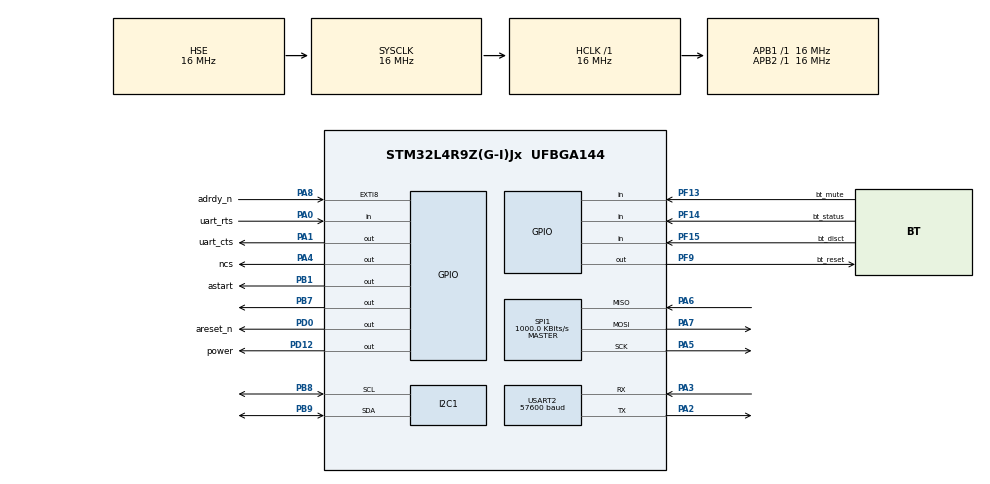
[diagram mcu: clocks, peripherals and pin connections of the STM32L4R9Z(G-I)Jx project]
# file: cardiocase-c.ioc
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Mcu.Family=STM32L4
PD12.GPIO_Label=power
PA6.Mode=Full_Duplex_Master
RCC.CortexFreq_Value=16000000
SPI1.VirtualType=VM_MASTER
PH0-OSC_IN\ (PH0).Signal=RCC_OSC_IN
USART2.ClockPrescaler=PRESCALER_DIV1
PA0.GPIO_Label=uart_rts
PD0.GPIO_Label=areset_n
PA15\ (JTDI).Signal=SYS_JTDI
RCC.SYSCLKSource=RCC_SYSCLKSOURCE_HSE
ProjectManager.StackSize=0x400
VP_TIM7_VS_ClockSourceINT.Mode=Enable_Timer
PA15\ (JTDI).Mode=JTAG_5_pins
PA14\ (JTCK/SWCLK).Signal=SYS_JTCK-SWCLK
SPI1.Direction=SPI_DIRECTION_2LINES
RCC.HCLKFreq_Value=16000000
RCC.APB2TimFreq_Value=16000000
SPI1.CalculateBaudRate=1000.0 KBits/s
PD0.Signal=GPIO_Output
TIM7.Period=1000
PA1.GPIO_PuPd=GPIO_PULLDOWN
RCC.AHBFreq_Value=16000000
PH1-OSC_OUT\ (PH1).Mode=HSE-External-Oscillator
RCC.HSE_VALUE=16000000
USART2.VirtualMode-Asynchronous=VM_ASYNC
USART2.OverSampling=UART_OVERSAMPLING_8
PA4.GPIO_Speed=GPIO_SPEED_FREQ_VERY_HIGH
PB1.GPIO_Label=astart
SPI1.DataSize=SPI_DATASIZE_8BIT
PB7.Signal=GPIO_Output
PA8.Signal=GPXTI8
PA14\ (JTCK/SWCLK).Mode=JTAG_5_pins
PA0.Signal=GPIO_Input
USART2.FIFOMode=FIFOMODE_ENABLE
PB9.Signal=I2C1_SDA
Mcu.Package=UFBGA144
TIM2.Prescaler=63
PB1.Signal=GPIO_Output
PA6.Signal=SPI1_MISO
PD12.Signal=GPIO_Output
TIM7.AutoReloadPreload=TIM_AUTORELOAD_PRELOAD_ENABLE
PF14.Signal=GPIO_Input
RCC.APB1TimFreq_Value=16000000
SPI1.BaudRatePrescaler=SPI_BAUDRATEPRESCALER_16
PH0-OSC_IN\ (PH0).Mode=HSE-External-Oscillator
PA4.GPIO_Label=ncs
NVIC.TIM7_IRQn=true\:0\:0\:false\:false\:true\:true\:true
RCC.HSI48_VALUE=48000000
PA3.Signal=USART2_RX
PA5.Mode=Full_Duplex_Master
PD12.PinState=GPIO_PIN_SET
RCC.MSI_VALUE=4000000
RCC.PLLSourceVirtual=RCC_PLLSOURCE_HSI
PA7.Mode=Full_Duplex_Master
PA13\ (JTMS/SWDIO).Mode=JTAG_5_pins
PF14.GPIO_Label=bt_status
SPI1.CLKPhase=SPI_PHASE_2EDGE
PF13.GPIO_Label=bt_mute
NVIC.USART2_IRQn=true\:0\:0\:false\:false\:true\:true\:true
USART2.BaudRate=57600
PH1-OSC_OUT\ (PH1).Signal=RCC_OSC_OUT
PA3.Mode=Asynchronous
PA8.GPIO_Label=adrdy_n
PA4.PinState=GPIO_PIN_SET
PB3\ (JTDO/TRACESWO).Signal=SYS_JTDO-SWO
ProjectManager.TargetToolchain=Makefile
PF9.PinState=GPIO_PIN_SET
PB9.Mode=I2C
I2C1.Timing=0x00303D5B
RCC.USBFreq_Value=32000000
PF9.GPIO_Label=bt_reset
RCC.LSE_VALUE=32768
PA1.Signal=GPIO_Output
PA5.Signal=SPI1_SCK
TIM7.Prescaler=16000
board=custom
RCC.VCOOutputFreq_Value=128000000
RCC.APB2Freq_Value=16000000
VP_TIM2_VS_ClockSourceINT.Mode=Internal
SPI1.Mode=SPI_MODE_MASTER
RCC.ADCFreq_Value=32000000
PA1.GPIO_Label=uart_cts
PF15.GPIO_Label=bt_disct
PF15.Signal=GPIO_Input
PF13.Signal=GPIO_Input
PB4\ (NJTRST).Mode=JTAG_5_pins
Mcu.Name=STM32L4R9Z(G-I)Jx
PA2.Signal=USART2_TX
PA4.Signal=GPIO_Output
RCC.SYSCLKFreq_VALUE=16000000
RCC.PLLM2=2
RCC.PLLM1=2
NVIC.EXTI9_5_IRQn=true\:0\:0\:false\:false\:true\:true\:true
ProjectManager.HeapSize=0x200
PF9.Signal=GPIO_Output
RCC.HSI_VALUE=16000000
NVIC.PriorityGroup=NVIC_PRIORITYGROUP_4
RCC.PLLN=16
PB3\ (JTDO/TRACESWO).Mode=JTAG_5_pins
PB8.Mode=I2C
PB8.Signal=I2C1_SCL
PA2.Mode=Asynchronous
RCC.APB1Freq_Value=16000000
PA13\ (JTMS/SWDIO).Signal=SYS_JTMS-SWDIO
PA7.Signal=SPI1_MOSI
PB4\ (NJTRST).Signal=SYS_JTRST

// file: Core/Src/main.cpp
/* USER CODE BEGIN Header */
/**
  ******************************************************************************
  * @file           : main.c
  * @brief          : Main program body
  ******************************************************************************
  * @attention
  *
  * <h2><center>&copy; Copyright (c) 2021 STMicroelectronics.
  * All rights reserved.</center></h2>
  *
  * This software component is licensed by ST under BSD 3-Clause license,
  * the "License"; You may not use this file except in compliance with the
  * License. You may obtain a copy of the License at:
  *                        opensource.org/licenses/BSD-3-Clause
  *
  ******************************************************************************
  */
/* USER CODE END Header */
#include "circular_buffer.h"
#include "main.h"
#include "i2c.h"
#include "spi.h"
#include "usart.h"
#include "gpio.h"
#include "adc.h"
#include "tim.h"
#include "utils.h"
#include "tps.h"

void SystemClock_Config(void);
/* USER CODE BEGIN PFP */

Ads1292R adc;
CircularBuffer<int> adc_buf(100);
CircularBuffer<uint8_t> uart_buf(100);
Tps65070 tps;

/* USER CODE END PFP */

int main(void)
{

  /* MCU Configuration--------------------------------------------------------*/

  /* Reset of all peripherals, Initializes the Flash interface and the Systick. */
  HAL_Init();

  /* Configure the system clock */
  SystemClock_Config();

  /* Initialize all configured peripherals */
  SEGGER_RTT_printf(0, "Starting cardiocase\n");
  MX_GPIO_Init();
  MX_I2C1_Init();
  MX_USART2_UART_Init();
  MX_TIM2_Init();
  MX_TIM7_Init();

  HAL_TIM_Base_Start(&htim2);
  HAL_GPIO_WritePin(bt_reset_GPIO_Port, bt_reset_Pin, GPIO_PIN_RESET);
  /* USER CODE BEGIN 2 */

  // TPS
  tps = Tps65070(hi2c1);
  tps.init();
  MX_SPI1_Init();

  HAL_GPIO_WritePin(bt_reset_GPIO_Port, bt_reset_Pin, GPIO_PIN_SET);

  // ADC
  HAL_GPIO_WritePin(GPIOB, GPIO_PIN_7, GPIO_PIN_SET);
  adc = Ads1292R(hspi1, htim2);
  if (!adc.init())
  {
    HAL_GPIO_WritePin(power_GPIO_Port, power_Pin, GPIO_PIN_RESET);
  }

  /* USER CODE END 2 */

  /* Infinite loop */
  // while (1);
  /* USER CODE BEGIN WHILE */
  send_command(&huart2, (uint8_t *)"AT+BAUD=115200\r\n", 15, uart_buf);
  send_command(&huart2, (uint8_t *)"AT+LPM=1\r\n", 10, uart_buf);
  send_command(&huart2, (uint8_t *)"AT+TPMODE=0\r\n", 13, uart_buf);

  recieve_command((uint8_t *)"+GATTDATA=5,AdcOn", 17, uart_buf);

  int voltage = tps.voltage_measurment();
  send_voltage(&huart2, voltage, uart_buf);
  recieve_command((uint8_t *)"OK", 2, uart_buf);

  int i = 0, buf[40], error_cnt = 0;
  while (1)
  {
    /* USER CODE END WHILE */
    /* USER CODE BEGIN 3 */
    if (!adc_buf.empty())
    {
      int result = adc_buf.get();
      buf[i] = result;
      i++;
      if (i >= 40)
      {
        error_cnt += send_data(&huart2, buf, 40, uart_buf);
        i = 0;

        if (error_cnt > 5)
        {
          HAL_GPIO_WritePin(power_GPIO_Port, power_Pin, GPIO_PIN_RESET);
        }
      }
      // SEGGER_RTT_printf(0, "RESULT: %d\n", result);
    }
  }
  /* USER CODE END 3 */
}

void SystemClock_Config(void)
{
  RCC_OscInitTypeDef RCC_OscInitStruct = {0};
  RCC_ClkInitTypeDef RCC_ClkInitStruct = {0};
  RCC_PeriphCLKInitTypeDef PeriphClkInit = {0};

  /** Configure the main internal regulator output voltage
  */
  if (HAL_PWREx_ControlVoltageScaling(PWR_REGULATOR_VOLTAGE_SCALE1) != HAL_OK)
  {
    Error_Handler();
  }
  /** Initializes the RCC Oscillators according to the specified parameters
  * in the RCC_OscInitTypeDef structure.
  */
  RCC_OscInitStruct.OscillatorType = RCC_OSCILLATORTYPE_HSE;
  RCC_OscInitStruct.HSEState = RCC_HSE_ON;
  RCC_OscInitStruct.PLL.PLLState = RCC_PLL_NONE;
  if (HAL_RCC_OscConfig(&RCC_OscInitStruct) != HAL_OK)
  {
    Error_Handler();
  }
  /** Initializes the CPU, AHB and APB buses clocks
  */
  RCC_ClkInitStruct.ClockType = RCC_CLOCKTYPE_HCLK|RCC_CLOCKTYPE_SYSCLK
                              |RCC_CLOCKTYPE_PCLK1|RCC_CLOCKTYPE_PCLK2;
  RCC_ClkInitStruct.SYSCLKSource = RCC_SYSCLKSOURCE_HSE;
  RCC_ClkInitStruct.AHBCLKDivider = RCC_SYSCLK_DIV1;
  RCC_ClkInitStruct.APB1CLKDivider = RCC_HCLK_DIV1;
  RCC_ClkInitStruct.APB2CLKDivider = RCC_HCLK_DIV1;

  if (HAL_RCC_ClockConfig(&RCC_ClkInitStruct, FLASH_LATENCY_0) != HAL_OK)
  {
    Error_Handler();
  }
  PeriphClkInit.PeriphClockSelection = RCC_PERIPHCLK_USART2|RCC_PERIPHCLK_I2C1;
  PeriphClkInit.Usart2ClockSelection = RCC_USART2CLKSOURCE_PCLK1;
  PeriphClkInit.I2c1ClockSelection = RCC_I2C1CLKSOURCE_PCLK1;
  if (HAL_RCCEx_PeriphCLKConfig(&PeriphClkInit) != HAL_OK)
  {
    Error_Handler();
  }
}
/* USER CODE BEGIN 4 */

// Callback: timer has rolled over
void HAL_TIM_PeriodElapsedCallback(TIM_HandleTypeDef *htim)
{
  // Check which version of the timer triggered this callback and toggle LED
  if (htim == &htim7)
  {
    // SEGGER_RTT_printf(0, "Hello from timer\n");
    int voltage = tps.voltage_measurment();
    send_voltage(&huart2, voltage, uart_buf);
  }
}

/* USER CODE END 4 */

void Error_Handler(void)
{
}

/************************ (C) COPYRIGHT STMicroelectronics *****END OF FILE****/
